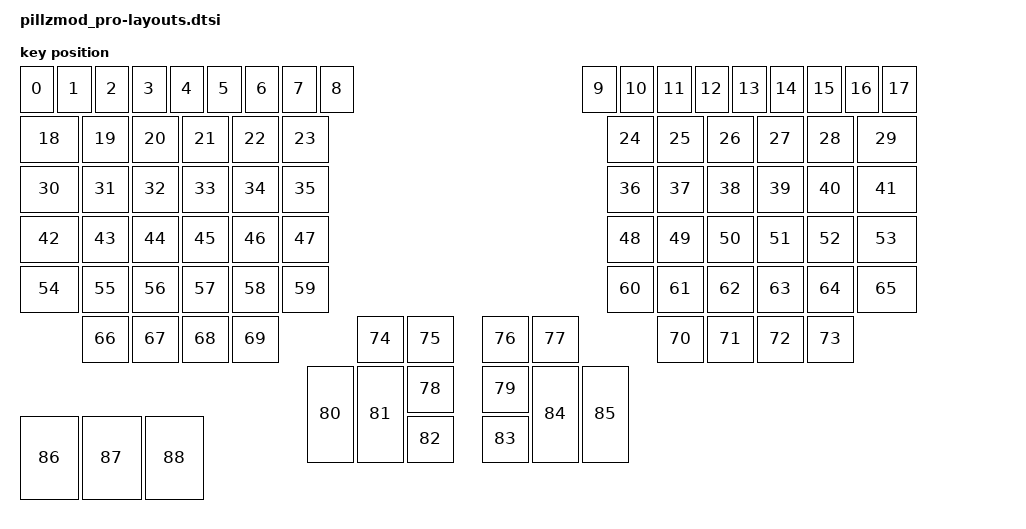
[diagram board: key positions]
#include <physical_layouts.dtsi>

/ {
    physical_layout0: physical_layout_0 {
        compatible = "zmk,physical-layout";
        display-name = "Default";

        kscan = <&kscan0>;
        transform = <&matrix_transform0>;

        keys  //                     w   h    x    y     rot    rx    ry
            = <&key_physical_attrs  75 100    0    0       0     0     0>
            , <&key_physical_attrs  75 100   75    0       0     0     0>
            , <&key_physical_attrs  75 100  150    0       0     0     0>
            , <&key_physical_attrs  75 100  225    0       0     0     0>
            , <&key_physical_attrs  75 100  300    0       0     0     0>
            , <&key_physical_attrs  75 100  375    0       0     0     0>
            , <&key_physical_attrs  75 100  450    0       0     0     0>
            , <&key_physical_attrs  75 100  525    0       0     0     0>
            , <&key_physical_attrs  75 100  600    0       0     0     0>
            , <&key_physical_attrs  75 100 1125    0       0     0     0>
            , <&key_physical_attrs  75 100 1200    0       0     0     0>
            , <&key_physical_attrs  75 100 1275    0       0     0     0>
            , <&key_physical_attrs  75 100 1350    0       0     0     0>
            , <&key_physical_attrs  75 100 1425    0       0     0     0>
            , <&key_physical_attrs  75 100 1500    0       0     0     0>
            , <&key_physical_attrs  75 100 1575    0       0     0     0>
            , <&key_physical_attrs  75 100 1650    0       0     0     0>
            , <&key_physical_attrs  75 100 1725    0       0     0     0>
            , <&key_physical_attrs 125 100    0  100       0     0     0>
            , <&key_physical_attrs 100 100  125  100       0     0     0>
            , <&key_physical_attrs 100 100  225  100       0     0     0>
            , <&key_physical_attrs 100 100  325  100       0     0     0>
            , <&key_physical_attrs 100 100  425  100       0     0     0>
            , <&key_physical_attrs 100 100  525  100       0     0     0>
            , <&key_physical_attrs 100 100 1175  100       0     0     0>
            , <&key_physical_attrs 100 100 1275  100       0     0     0>
            , <&key_physical_attrs 100 100 1375  100       0     0     0>
            , <&key_physical_attrs 100 100 1475  100       0     0     0>
            , <&key_physical_attrs 100 100 1575  100       0     0     0>
            , <&key_physical_attrs 125 100 1675  100       0     0     0>
            , <&key_physical_attrs 125 100    0  200       0     0     0>
            , <&key_physical_attrs 100 100  125  200       0     0     0>
            , <&key_physical_attrs 100 100  225  200       0     0     0>
            , <&key_physical_attrs 100 100  325  200       0     0     0>
            , <&key_physical_attrs 100 100  425  200       0     0     0>
            , <&key_physical_attrs 100 100  525  200       0     0     0>
            , <&key_physical_attrs 100 100 1175  200       0     0     0>
            , <&key_physical_attrs 100 100 1275  200       0     0     0>
            , <&key_physical_attrs 100 100 1375  200       0     0     0>
            , <&key_physical_attrs 100 100 1475  200       0     0     0>
            , <&key_physical_attrs 100 100 1575  200       0     0     0>
            , <&key_physical_attrs 125 100 1675  200       0     0     0>
            , <&key_physical_attrs 125 100    0  300       0     0     0>
            , <&key_physical_attrs 100 100  125  300       0     0     0>
            , <&key_physical_attrs 100 100  225  300       0     0     0>
            , <&key_physical_attrs 100 100  325  300       0     0     0>
            , <&key_physical_attrs 100 100  425  300       0     0     0>
            , <&key_physical_attrs 100 100  525  300       0     0     0>
            , <&key_physical_attrs 100 100 1175  300       0     0     0>
            , <&key_physical_attrs 100 100 1275  300       0     0     0>
            , <&key_physical_attrs 100 100 1375  300       0     0     0>
            , <&key_physical_attrs 100 100 1475  300       0     0     0>
            , <&key_physical_attrs 100 100 1575  300       0     0     0>
            , <&key_physical_attrs 125 100 1675  300       0     0     0>
            , <&key_physical_attrs 125 100    0  400       0     0     0>
            , <&key_physical_attrs 100 100  125  400       0     0     0>
            , <&key_physical_attrs 100 100  225  400       0     0     0>
            , <&key_physical_attrs 100 100  325  400       0     0     0>
            , <&key_physical_attrs 100 100  425  400       0     0     0>
            , <&key_physical_attrs 100 100  525  400       0     0     0>
            , <&key_physical_attrs 100 100 1175  400       0     0     0>
            , <&key_physical_attrs 100 100 1275  400       0     0     0>
            , <&key_physical_attrs 100 100 1375  400       0     0     0>
            , <&key_physical_attrs 100 100 1475  400       0     0     0>
            , <&key_physical_attrs 100 100 1575  400       0     0     0>
            , <&key_physical_attrs 125 100 1675  400       0     0     0>
            , <&key_physical_attrs 100 100  125  500       0     0     0>
            , <&key_physical_attrs 100 100  225  500       0     0     0>
            , <&key_physical_attrs 100 100  325  500       0     0     0>
            , <&key_physical_attrs 100 100  425  500       0     0     0>
            , <&key_physical_attrs 100 100 1275  500       0     0     0>
            , <&key_physical_attrs 100 100 1375  500       0     0     0>
            , <&key_physical_attrs 100 100 1475  500       0     0     0>
            , <&key_physical_attrs 100 100 1575  500       0     0     0>
            , <&key_physical_attrs 100 100  675  500       0     0     0>
            , <&key_physical_attrs 100 100  775  500       0     0     0>
            , <&key_physical_attrs 100 100  925  500       0     0     0>
            , <&key_physical_attrs 100 100 1025  500       0     0     0>
            , <&key_physical_attrs 100 100  775  600       0     0     0>
            , <&key_physical_attrs 100 100  925  600       0     0     0>
            , <&key_physical_attrs 100 200  575  600       0     0     0>
            , <&key_physical_attrs 100 200  675  600       0     0     0>
            , <&key_physical_attrs 100 100  775  700       0     0     0>
            , <&key_physical_attrs 100 100  925  700       0     0     0>
            , <&key_physical_attrs 100 200 1025  600       0     0     0>
            , <&key_physical_attrs 100 200 1125  600       0     0     0>
            , <&key_physical_attrs 125 175    0  700       0     0     0>
            , <&key_physical_attrs 125 175  125  700       0     0     0>
            , <&key_physical_attrs 125 175  250  700       0     0     0>
            ;
    };
};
